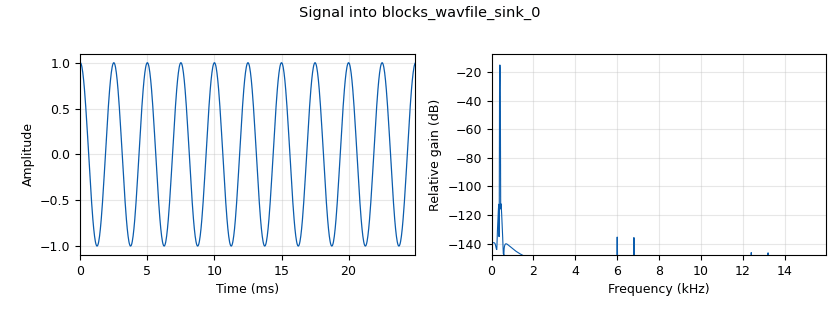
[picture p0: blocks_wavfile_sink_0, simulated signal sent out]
<?xml version='1.0' encoding='utf-8'?>
<flow_graph>
<block>
<key>options</key>
<param><key>id</key><value>top_block</value></param>
<param><key>generate_options</key><value>wx_gui</value></param>
<param><key>category</key><value>Custom</value></param>
</block>
<block>
<key>variable</key>
<param><key>id</key><value>freq</value></param>
<param><key>value</key><value>400</value></param>
</block>
<block>
<key>variable</key>
<param><key>id</key><value>fname</value></param>
<param><key>value</key><value>str(freq)+".wav"</value></param>
</block>
<block>
<key>variable</key>
<param><key>id</key><value>samp_rate</value></param>
<param><key>value</key><value>32000</value></param>
</block>
<block>
<key>analog_sig_source_x</key>
<param><key>id</key><value>analog_sig_source_x_0</value></param>
<param><key>type</key><value>float</value></param>
<param><key>samp_rate</key><value>samp_rate</value></param>
<param><key>waveform</key><value>analog.GR_COS_WAVE</value></param>
<param><key>freq</key><value>freq</value></param>
<param><key>amp</key><value>1</value></param>
<param><key>offset</key><value>0</value></param>
<param><key>minoutbuf</key><value>1024</value></param>
</block>
<block>
<key>blocks_wavfile_sink</key>
<param><key>id</key><value>blocks_wavfile_sink_0</value></param>
<param><key>file</key><value>fname</value></param>
<param><key>samp_rate</key><value>samp_rate</value></param>
<param><key>bits_per_sample</key><value>8</value></param>
</block>
<connection><source_block_id>analog_sig_source_x_0</source_block_id><sink_block_id>blocks_wavfile_sink_0</sink_block_id><source_key>0</source_key><sink_key>0</sink_key></connection>
</flow_graph>
